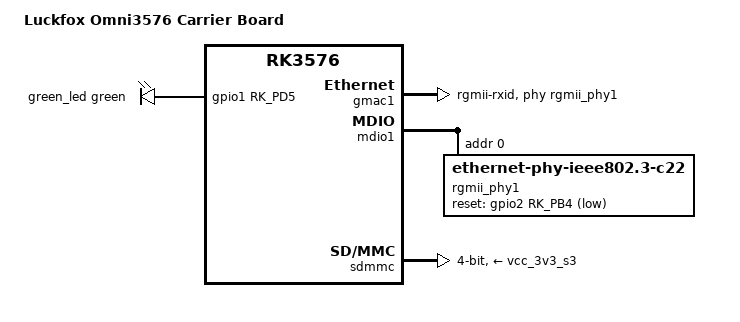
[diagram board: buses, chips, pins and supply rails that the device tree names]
// SPDX-License-Identifier: (GPL-2.0+ OR MIT)
/*
 * Copyright (c) 2024 Rockchip Electronics Co., Ltd.
 * Copyright (c) 2025 John Clark <inindev@gmail.com>
 */

/dts-v1/;

#include "rk3576-luckfox-core3576.dtsi"

/ {
	model = "Luckfox Omni3576 Carrier Board";
	compatible = "luckfox,omni3576", "luckfox,core3576", "rockchip,rk3576";

	aliases {
		mmc1 = &sdmmc;
	};

	leds: leds {
		compatible = "gpio-leds";
		pinctrl-names = "default";
		pinctrl-0 = <&led_green_pin>;

		green_led: green-led {
			color = <LED_COLOR_ID_GREEN>;
			function = LED_FUNCTION_HEARTBEAT;
			gpios = <&gpio1 RK_PD5 GPIO_ACTIVE_HIGH>;
			linux,default-trigger = "heartbeat";
		};
	};
};

&gmac1 {
	clock_in_out = "output";
	phy-handle = <&rgmii_phy1>;
	phy-mode = "rgmii-rxid";
	pinctrl-names = "default";
	pinctrl-0 = <&eth1m0_miim
		     &eth1m0_tx_bus2
		     &eth1m0_rx_bus2
		     &eth1m0_rgmii_clk
		     &eth1m0_rgmii_bus
		     &ethm0_clk1_25m_out>;
	tx_delay = <0x20>;
	status = "okay";
};

&mdio1 {
	rgmii_phy1: ethernet-phy@0 {
		compatible = "ethernet-phy-ieee802.3-c22";
		reg = <0x0>;
		clocks = <&cru REFCLKO25M_GMAC1_OUT>;
		pinctrl-names = "default";
		pinctrl-0 = <&gmac1_rst>;
		reset-assert-us = <20000>;
		reset-deassert-us = <100000>;
		reset-gpios = <&gpio2 RK_PB4 GPIO_ACTIVE_LOW>;
	};
};

&pinctrl {
	gmac {
		gmac1_rst: ethphy1-rst {
			rockchip,pins = <2 RK_PB4 RK_FUNC_GPIO &pcfg_pull_up>;
		};
	};

	leds {
		led_green_pin: led-green-pin {
			rockchip,pins = <1 RK_PD5 RK_FUNC_GPIO &pcfg_pull_none>;
		};
	};
};

&sdmmc {
	bus-width = <4>;
	cap-mmc-highspeed;
	cap-sd-highspeed;
	disable-wp;
	no-sdio;
	sd-uhs-sdr104;
	vmmc-supply = <&vcc_3v3_s3>;
	vqmmc-supply = <&vccio_sd_s0>;
	status = "okay";
};
